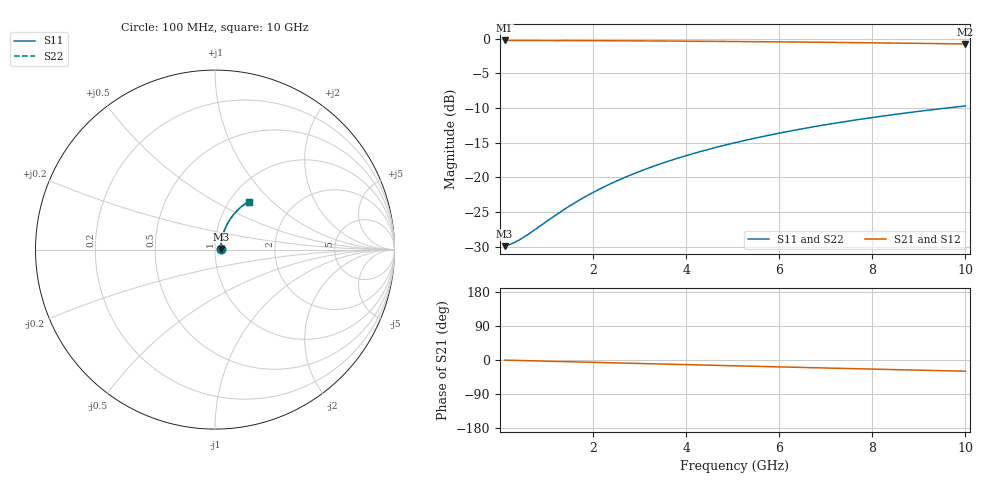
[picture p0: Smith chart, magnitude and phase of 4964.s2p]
# Hz S RI R 50.00
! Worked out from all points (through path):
!   100 points, 100 MHz to 10 GHz, reference 50 ohm
!   highest |S21| = -0.28 dB at 100 MHz (marker M1); lowest = -0.8 dB at 10 GHz (marker M2)
!   group delay of S21, straight-line fit = 8.25 ps
!   lowest |S11| = -29.9 dB at 100 MHz (marker M3), VSWR 1.07, Z = 53.3 + j0.359 ohm
!   |S11| at or under -10 dB: start of sweep to 9.618 GHz
!   |S22| runs from -29.9 to -9.7 dB; largest |S21 - S12| = 0
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1e8  0.0317 0.00337  0.9683 -0.0052  0.9683 -0.0052  0.0317 0.00337
2e8  0.032 0.00673  0.968 -0.0104  0.968 -0.0104  0.032 0.00673
3e8  0.0322 0.0101  0.9677 -0.0156  0.9677 -0.0156  0.0322 0.0101
5e8  0.0328 0.0168  0.9672 -0.026  0.9672 -0.026  0.0328 0.0168
7e8  0.0334 0.0235  0.9665 -0.0363  0.9665 -0.0363  0.0334 0.0235
1.3e9  0.0359 0.0435  0.9638 -0.0673  0.9638 -0.0673  0.0359 0.0435
1.6e9  0.0376 0.0534  0.9619 -0.0827  0.9619 -0.0827  0.0376 0.0534
1.8e9  0.0389 0.06  0.9605 -0.0929  0.9605 -0.0929  0.0389 0.06
2.1e9  0.0411 0.0698  0.9581 -0.1082  0.9581 -0.1082  0.0411 0.0698
2.5e9  0.0445 0.0827  0.9544 -0.1284  0.9544 -0.1284  0.0445 0.0827
2.9e9  0.0484 0.0954  0.9501 -0.1485  0.9501 -0.1485  0.0484 0.0954
3.4e9  0.0541 0.111  0.9439 -0.1732  0.9439 -0.1732  0.0541 0.111
3.8e9  0.0591 0.1232  0.9383 -0.1928  0.9383 -0.1928  0.0591 0.1232
4.2e9  0.0647 0.1351  0.9322 -0.2121  0.9322 -0.2121  0.0647 0.1351
4.6e9  0.0707 0.1467  0.9256 -0.2311  0.9256 -0.2311  0.0707 0.1467
5.1e9  0.0789 0.1609  0.9166 -0.2544  0.9166 -0.2544  0.0789 0.1609
5.9e9  0.0934 0.1823  0.9006 -0.2906  0.9006 -0.2906  0.0934 0.1823
6.7e9  0.1094 0.2023  0.8828 -0.3254  0.8828 -0.3254  0.1094 0.2023
7.5e9  0.1268 0.2207  0.8634 -0.3586  0.8634 -0.3586  0.1268 0.2207
8.4e9  0.1478 0.2395  0.8398 -0.394  0.8398 -0.394  0.1478 0.2395
9.2e9  0.1676 0.2542  0.8176 -0.4237  0.8176 -0.4237  0.1676 0.2542
1e10  0.1881 0.2672  0.7944 -0.4516  0.7944 -0.4516  0.1881 0.2672
